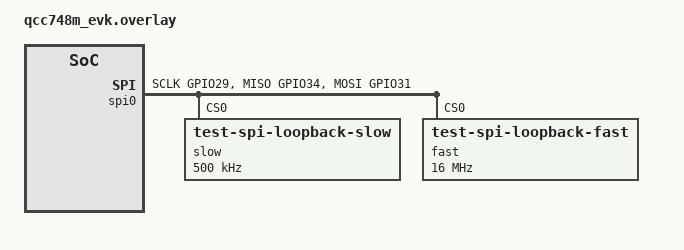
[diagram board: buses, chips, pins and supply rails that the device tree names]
/*
 * Copyright (c) 2026 Qualcomm Technologies, Inc. and/or its subsidiaries
 * SPDX-License-Identifier: BSD-3-Clause
 *
 * Ported into qcc74x_testing/tests/drivers/spi/spi_loopback/ (see
 * log_doc/spi_loopback_port_record.md for the full rationale/provenance).
 * Content matches qapp/qcc74x/qcc74x_testing/board_overlays/spi_loopback/
 * qcc74xm_evk_common.dtsi (already verified working on this bench).
 */

&pinctrl {
	status = "okay";
	spi0_default: spi0_default {
		group1 {
			pinmux = <SPI0_SCLK_GPIO29>,
				<SPI0_MISO_GPIO34>,
				<SPI0_MOSI_GPIO31>;
			bias-pull-up;
			drive-strength = <1>;
			input-schmitt-enable;
			input-enable;
		};
	};
};

&spi0 {
	status = "okay";
	pinctrl-0 = <&spi0_default>;
	pinctrl-names = "default";
	slow@0 {
		compatible = "test-spi-loopback-slow";
		reg = <0>;
		spi-max-frequency = <500000>;
	};
	fast@0 {
		compatible = "test-spi-loopback-fast";
		reg = <0>;
		spi-max-frequency = <16000000>;
	};
};

&dma {
	status = "okay";
};
